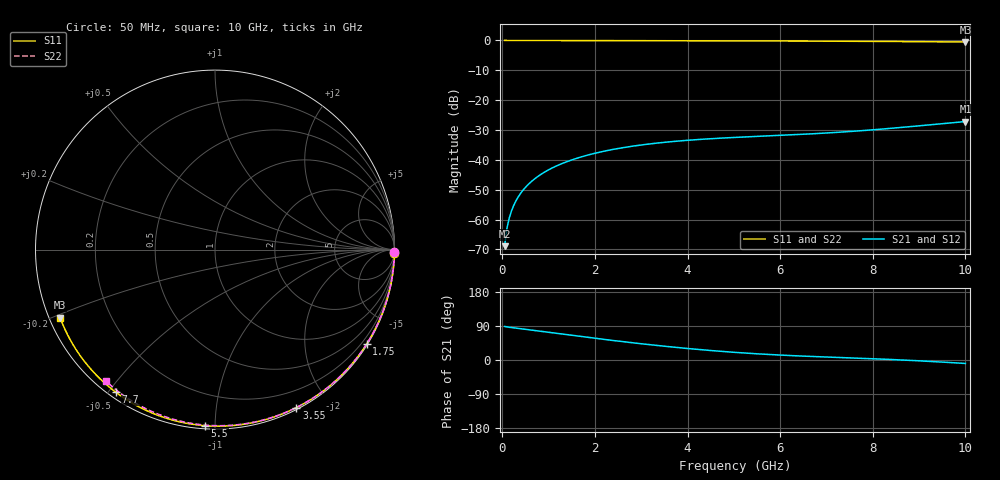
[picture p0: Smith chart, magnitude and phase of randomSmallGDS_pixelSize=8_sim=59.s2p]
! freq	dB(S11)	phase(S11)	dB(S12)	phase(S12)
!  dB(S21)	phase(S21)	dB(S22)	phase(S22)
!S-par simulation data
#  GHz  S  DB  R 50
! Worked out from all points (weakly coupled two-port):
!   200 points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, 50 MHz to 10 GHz, reference 50 ohm
!   highest |S21| = -27.15 dB at 10 GHz (marker M1); lowest = -68.9 dB at 50 MHz (marker M2)
!   lowest |S11| = -0.5 dB at 10 GHz (marker M3), VSWR 33.87, Z = 1.54 - j10.5 ohm
!   |S11| at or under -10 dB: nowhere
!   |S22| runs from -0.4 to 0.0 dB; largest |S21 - S12| = 0
!   S11 on the Smith chart (normalised r, x): 50 MHz: open; 1.75 GHz: 0.03, -3.50; 3.55 GHz: 0.02, -1.64; 5.5 GHz: 0.02, -0.94; 7.7 GHz: 0.02, -0.52; 10 GHz: 0.03, -0.21
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0.05  -0.00 -0.9  -68.89 88.5  -68.89 88.5  -0.00 -0.8
0.1  -0.00 -1.9  -62.94 87.3  -62.94 87.3  -0.00 -1.5
0.15  -0.00 -2.8  -59.49 86.4  -59.49 86.4  -0.00 -2.3
0.2  -0.00 -3.7  -57.03 85.6  -57.03 85.6  -0.00 -3.0
0.25  -0.00 -4.6  -55.13 84.9  -55.13 84.9  -0.00 -3.8
0.35  -0.00 -6.5  -52.25 83.4  -52.25 83.4  -0.00 -5.3
0.5  -0.01 -9.3  -49.20 81.1  -49.20 81.1  -0.01 -7.6
0.7  -0.01 -12.9  -46.33 77.9  -46.33 77.9  -0.01 -10.6
1  -0.02 -18.4  -43.32 73.1  -43.32 73.1  -0.02 -15.1
1.35  -0.03 -24.7  -40.85 67.5  -40.85 67.5  -0.03 -20.3
1.75  -0.04 -31.9  -38.79 61.2  -38.79 61.2  -0.03 -26.2
2.5  -0.06 -45.0  -36.18 49.9  -36.18 49.9  -0.05 -37.1
3.4  -0.08 -60.3  -34.27 37.6  -34.27 37.6  -0.07 -49.8
3.55  -0.08 -62.7  -34.03 35.7  -34.03 35.7  -0.07 -51.9
4.3  -0.11 -74.9  -33.10 27.1  -33.10 27.1  -0.09 -62.1
5.05  -0.13 -86.5  -32.45 19.9  -32.45 19.9  -0.11 -71.9
5.5  -0.15 -93.3  -32.12 16.4  -32.12 16.4  -0.13 -77.7
6.7  -0.21 -110.8  -31.26 9.2  -31.26 9.2  -0.18 -92.4
7.7  -0.28 -124.8  -30.28 4.7  -30.28 4.7  -0.24 -104.2
8.35  -0.34 -133.7  -29.48 1.6  -29.48 1.6  -0.28 -111.6
9.2  -0.42 -145.3  -28.31 -3.5  -28.31 -3.5  -0.35 -121.0
10  -0.51 -156.3  -27.15 -9.1  -27.15 -9.1  -0.43 -129.8
